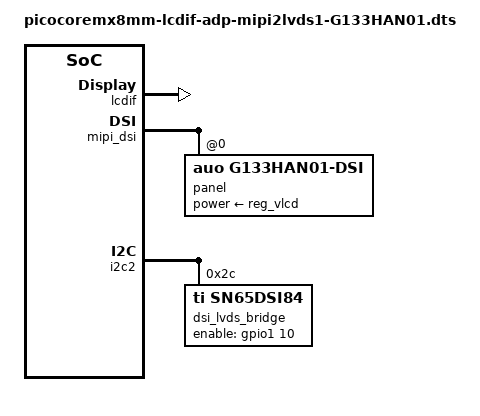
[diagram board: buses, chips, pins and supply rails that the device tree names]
/*
 * Copyright (C) 2019 F&S Elektronik Systeme GmbH
 *
 * This program is free software; you can redistribute it and/or modify
 * it under the terms of the GNU General Public License version 2 as
 * published by the Free Software Foundation.
 */

#include "picocoremx8mm-bbdsi.dts"

#define CONFIG_PICOCOREMX8MM_INVERTED_XY
/ {
	backlight_ldb {
		pwms = <&pwm2 0 2000000 0>;
		brightness-levels = < 23 39 55 71 87 103 119 135 151 167 183
		     199 215 231 239 255>;
		default-brightness-level = <14>;
	};
};

&lcdif {
	status = "okay";
	/* important to overwrite max-res otherwise DRM lcdif will fail to find a suitable connector */
	max-res = <4096>, <4096>;
};

&mipi_dsi {
	status = "okay";
	clocks = <&clk IMX8MM_CLK_DSI_CORE>,
			 <&clk IMX8MM_CLK_DSI_PHY_REF>;
	clock-names = "cfg", "pll-ref";
	assigned-clocks = <&clk IMX8MM_CLK_DSI_CORE>,
				  <&clk IMX8MM_CLK_DSI_PHY_REF>;
	assigned-clock-parents = <&clk IMX8MM_SYS_PLL1_266M>,
					 <&clk IMX8MM_VIDEO_PLL1_OUT>;
	assigned-clock-rates = <266000000>, <27000000>;

	panel@0 {


		reg = <0>;
		compatible = "auo,g133han01-dsi"; /* one of panel-simple's 
		     		          match strings */

		power-supply = <&reg_vlcd>;

		dsi,flags = <0xB>; /* MIPI_DSI_MODE_VIDEO MIPI_DSI_MODE_VIDEO_BURST MIPI_DSI_MODE_VIDEO_AUTO_VERT */
		dsi,format = <0x0>; /* MIPI_DSI_FMT_RGB888 */
		dsi,lanes = <4>;

		bus-flags = <1>;
		refresh-rate = <60>;
	    rotate = <0>;
	    bus-format = <0x100a>;

		panel-width-mm = <154>;
		panel-height-mm = <85>;

		display-timings {
			native-mode = <&timing0>;

			timing0: auo_g133han01 {
				clock-frequency = <150000000>;
				hactive = <1920>;
				vactive = <1080>;
				hfront-porch = <76>;
				hsync-len = <56>;
				hback-porch = <117>;
				vfront-porch = <11>;
				vsync-len = <19>;
				vback-porch = <19>;
				de-active = <1>;
			};
		};
	};
};

&i2c2 {
    /* mipi to lvds controller  */
	dsi_lvds_bridge: sn65dsi84@2c {
		reg = <0x2c>;
		status = "okay";
		compatible = "ti,sn65dsi84";
		#gpio-cells = <2>;
		#if 1
		enable-gpios = <&gpio1 10 GPIO_ACTIVE_HIGH>; /* <&pinctrl_mipi_dsi_rst>; */
		#endif
		sn65dsi84,addresses = <
		0x09 0x0A 0x0B 0x0D
		0x10 0x11 0x12 0x13
        0x18 0x19 0x1A 0x1B
        0x20 0x21 0x22 0x23
        0x24 0x25 0x26 0x27
        0x28 0x29 0x2A 0x2B
        0x2C 0x2D 0x2E 0x2F
        0x30 0x31 0x32 0x33
        0x34 0x35 0x36 0x37
        0x38 0x39 0x3A 0x3B
        0x3C 0x3D 0x3E
        0x0D>;

		sn65dsi84,values = <
		/* reset and clock registers */
		0x00 0x05 0x28 0x00
        /* DSI registers */
		0x26 0x00 0x58 0x00
		/* LVDS registers */
        0x6f 0x00 0x03 0x00
        /* video registers */
        /* cha-al-len-l, cha-al-len-h */
        0x80 0x07 0x00 0x00
        /* cha-v-ds-l, cha-v-ds-h */
        0x00 0x00 0x00 0x00
        /* cha-sdl, cha-sdh*/
        0x21 0x00 0x00 0x00
        /* cha-hs-pwl, cha-hs-pwh */
        0x1c 0x00 0x00 0x00
        /* cha-vs-pwl, cha-vs-pwh */
        0x13 0x00 0x00 0x00
        /*cha-hbp, cha-vbp */
        0x3a 0x00 0x00 0x00
        /* cha-hfp, cha-vfp*/
        0x00 0x00 0x00 0x00
        0x00 0x00 0x00
        0x01>;
	};
};



